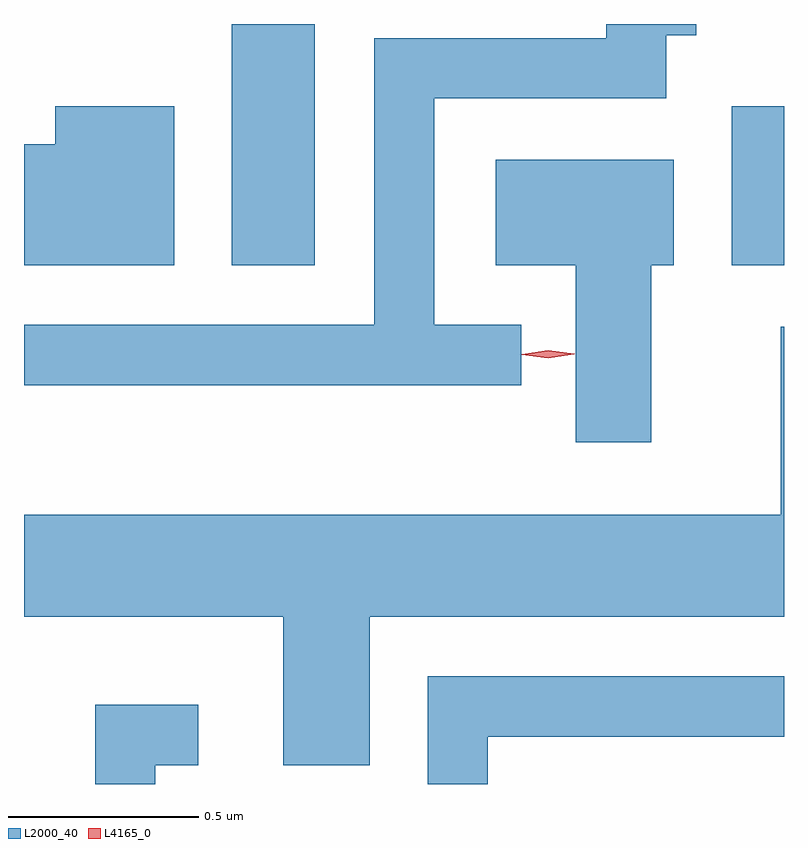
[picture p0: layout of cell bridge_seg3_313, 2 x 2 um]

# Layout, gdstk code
import gdstk
lib = gdstk.Library(unit=1e-6, precision=1e-09)
def R(c, l, rs):  # rectangles x0, y0, x1, y1
    for r in rs: c.add(gdstk.rectangle(r[:2], r[2:], *l))
def P(c, l, *ps):  # polygons
    for p in ps: c.add(gdstk.Polygon(p, *l))
L2000_40 = (2000, 40)
L4165_0 = (4165, 0)

bridge_seg3_313 = lib.new_cell('bridge_seg3_313')
R(bridge_seg3_313, L2000_40, [(577.136,1184.661,577.354,1185.296), (578.451,1184.661,578.589,1185.079)])
P(bridge_seg3_313, L2000_40, [(577.898,1184.504),(577.669,1184.504),(577.669,1185.101),(578.279,1185.101),(578.279,1185.266),(578.358,1185.266),(578.358,1185.296),(578.121,1185.296),(578.121,1185.259),(577.511,1185.259),(577.511,1184.504),(576.589,1184.504),(576.589,1184.346),(577.898,1184.346)],
  [(576.984,1185.079),(576.671,1185.079),(576.671,1184.979),(576.589,1184.979),(576.589,1184.661),(576.984,1184.661)],
  [(578.239,1184.661),(578.299,1184.661),(578.299,1184.939),(577.831,1184.939),(577.831,1184.661),(578.041,1184.661),(578.041,1184.196),(578.239,1184.196)],
  [(577.499,1183.736),(578.589,1183.736),(578.589,1184.499),(578.581,1184.499),(578.581,1184.004),(576.589,1184.004),(576.589,1183.736),(577.271,1183.736),(577.271,1183.346),(577.499,1183.346)],
  [(577.809,1183.421),(578.589,1183.421),(578.589,1183.579),(577.651,1183.579),(577.651,1183.296),(577.809,1183.296)],
  [(576.934,1183.346),(577.048,1183.346),(577.048,1183.504),(576.776,1183.504),(576.776,1183.296),(576.934,1183.296)])
P(bridge_seg3_313, L4165_0, [(577.968,1184.417),(577.899,1184.426),(577.899,1184.427),(577.899,1184.427),(577.968,1184.437),(578.037,1184.428),(578.038,1184.428),(578.037,1184.427)])

lib.write_gds('bridge_seg3_313.gds')
